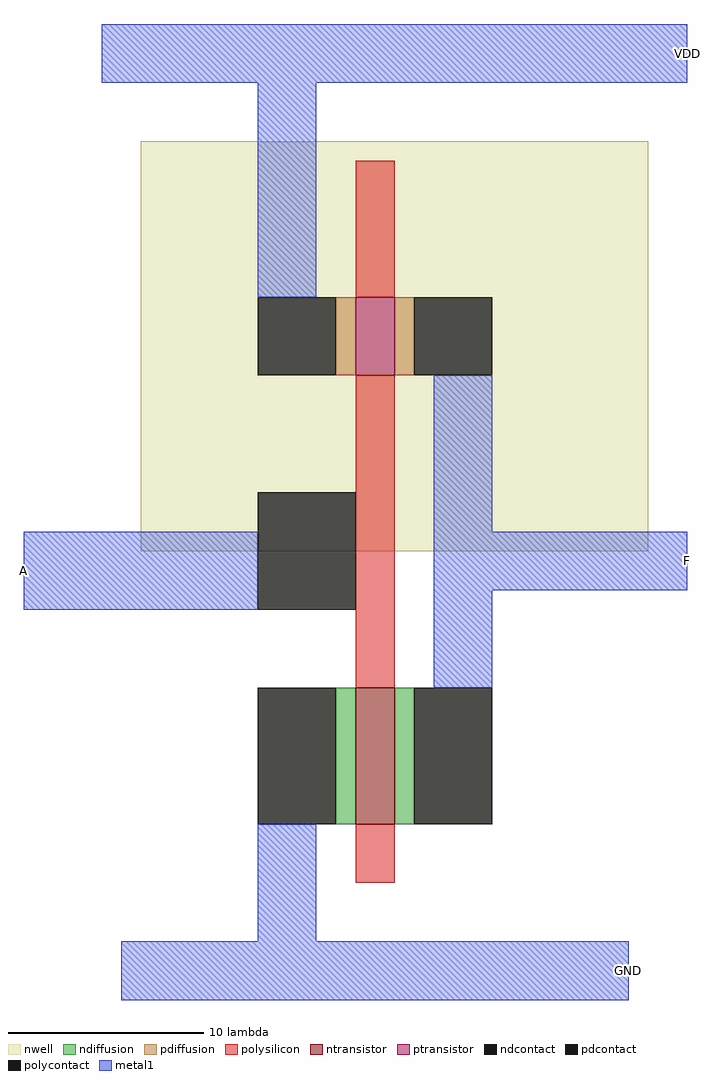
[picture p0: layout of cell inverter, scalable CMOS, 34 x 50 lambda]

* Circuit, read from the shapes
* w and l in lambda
.subckt inverter A F GND VDD
M1 F A GND VSUBS nfet w=7 l=2
M2 F A VDD n1 pfet w=4 l=2
.ends

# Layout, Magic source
magic
tech scmos
<< nwell >>
rect -11 -8 15 13
<< ntransistor >>
rect 0 -22 2 -15
<< ptransistor >>
rect 0 1 2 5
<< ndiffusion >>
rect -1 -22 0 -15
rect 2 -22 3 -15
<< pdiffusion >>
rect -1 1 0 5
rect 2 1 3 5
<< ndcontact >>
rect -5 -22 -1 -15
rect 3 -22 7 -15
<< pdcontact >>
rect -5 1 -1 5
rect 3 1 7 5
<< polysilicon >>
rect 0 5 2 12
rect 0 -15 2 1
rect 0 -25 2 -22
<< polycontact >>
rect -5 -11 0 -5
<< metal1 >>
rect -13 16 17 19
rect -5 5 -2 16
rect -17 -11 -5 -7
rect 4 -7 7 1
rect 4 -10 17 -7
rect 4 -15 7 -10
rect -5 -28 -2 -22
rect -12 -31 14 -28
<< labels >>
rlabel metal1 14 -31 14 -28 8 GND
rlabel metal1 17 16 17 19 6 VDD
rlabel metal1 -17 -11 -17 -7 5 A
rlabel metal1 17 -10 17 -7 5 F
<< end >>
